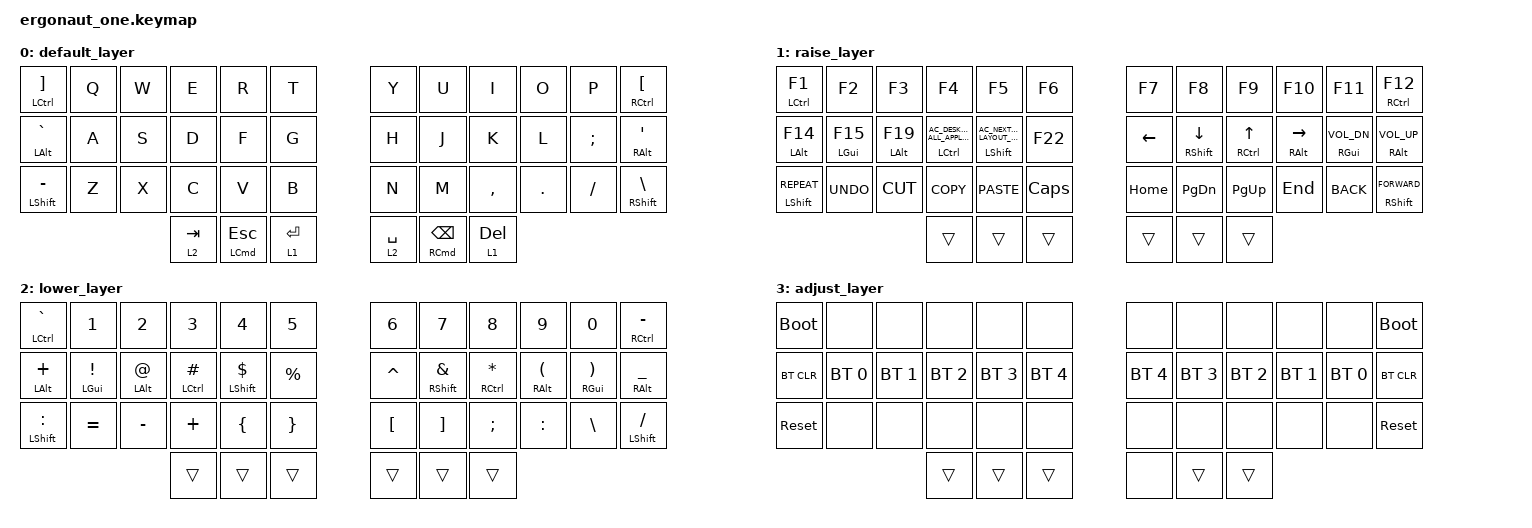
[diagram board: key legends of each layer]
#include <behaviors.dtsi>
#include <dt-bindings/zmk/bt.h>
#include <dt-bindings/zmk/keys.h>

#define DEF 0
#define LWR 1
#define RSE 2
#define ADJ 3

&lt { quick-tap-ms = <200>; };

&mt { quick-tap-ms = <200>; };

/ {
    conditional_layers {
        compatible = "zmk,conditional-layers";

        tri-layer {
            if-layers = <2 1>;
            then-layer = <3>;
        };
    };

    keymap {
        compatible = "zmk,keymap";

        default_layer {
            bindings = <
&mt LEFT_CONTROL RBKT  &kp Q  &kp W  &kp E      &kp R                    &kp T      &kp Y        &kp U                   &kp I      &kp O    &kp P     &mt RIGHT_CONTROL LBKT
&mt LEFT_ALT GRAVE     &kp A  &kp S  &kp D      &kp F                    &kp G      &kp H        &kp J                   &kp K      &kp L    &kp SEMI  &mt RIGHT_ALT SQT
&mt LEFT_SHIFT MINUS   &kp Z  &kp X  &kp C      &kp V                    &kp B      &kp N        &kp M                   &kp COMMA  &kp DOT  &kp FSLH  &mt RIGHT_SHIFT BSLH
                                     &lt 2 TAB  &mt LEFT_COMMAND ESCAPE  &lt 1 RET  &lt 2 SPACE  &mt RIGHT_COMMAND BSPC  &lt 1 DEL
            >;
        };

        raise_layer {
            bindings = <
&mt LEFT_CONTROL F1      &kp F2            &kp F3            &kp F4                                               &kp F5                                           &kp F6    &kp F7          &kp F8                &kp F9                &kp F10              &kp F11                 &mt RIGHT_CONTROL F12
&mt LEFT_ALT F14         &mt LEFT_GUI F15  &mt LEFT_ALT F19  &mt LEFT_CONTROL C_AC_DESKTOP_SHOW_ALL_APPLICATIONS  &mt LEFT_SHIFT C_AC_NEXT_KEYBOARD_LAYOUT_SELECT  &kp F22   &kp LEFT_ARROW  &mt RIGHT_SHIFT DOWN  &mt RIGHT_CONTROL UP  &mt RIGHT_ALT RIGHT  &mt RIGHT_GUI C_VOL_DN  &mt RIGHT_ALT C_VOL_UP
&mt LEFT_SHIFT C_REPEAT  &kp K_UNDO        &kp K_CUT         &kp K_COPY                                           &kp K_PASTE                                      &kp CAPS  &kp HOME        &kp PAGE_DOWN         &kp PAGE_UP           &kp END              &kp K_BACK              &mt RIGHT_SHIFT K_FORWARD
                                                             &trans                                               &trans                                           &trans    &trans          &trans                &trans
            >;
        };

        lower_layer {
            bindings = <
&mt LEFT_CONTROL GRAVE  &kp NUMBER_1       &kp NUMBER_2     &kp NUMBER_3           &kp NUMBER_4         &kp N5           &kp NUMBER_6      &kp N7                &kp N8                  &kp N9              &kp N0              &mt RIGHT_CONTROL MINUS
&mt LEFT_ALT PLUS       &mt LEFT_GUI EXCL  &mt LEFT_ALT AT  &mt LEFT_CONTROL HASH  &mt LEFT_SHIFT DLLR  &kp PRCNT        &kp CARET         &mt RIGHT_SHIFT AMPS  &mt RIGHT_CONTROL STAR  &mt RIGHT_ALT LPAR  &mt RIGHT_GUI RPAR  &mt RIGHT_ALT UNDER
&mt LEFT_SHIFT COLON    &kp EQUAL          &kp MINUS        &kp PLUS               &kp LEFT_BRACE       &kp RIGHT_BRACE  &kp LEFT_BRACKET  &kp RIGHT_BRACKET     &kp SEMICOLON           &kp COLON           &kp BACKSLASH       &mt LEFT_SHIFT SLASH
                                                            &trans                 &trans               &trans           &trans            &trans                &trans
            >;
        };

        adjust_layer {
            bindings = <
&bootloader  &none         &none         &none         &none         &none         &none         &none         &none         &none         &none         &bootloader
&bt BT_CLR   &bt BT_SEL 0  &bt BT_SEL 1  &bt BT_SEL 2  &bt BT_SEL 3  &bt BT_SEL 4  &bt BT_SEL 4  &bt BT_SEL 3  &bt BT_SEL 2  &bt BT_SEL 1  &bt BT_SEL 0  &bt BT_CLR
&sys_reset   &none         &none         &none         &none         &none         &none         &none         &none         &none         &none         &sys_reset
                                         &trans        &trans        &trans        &none         &trans        &trans
            >;
        };
    };
};
